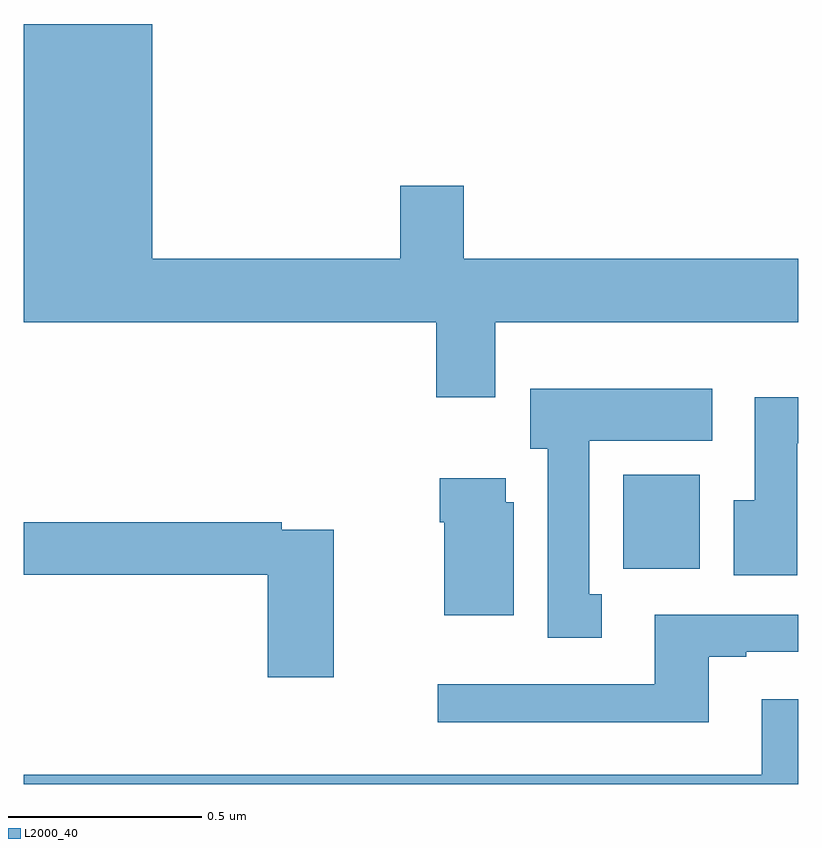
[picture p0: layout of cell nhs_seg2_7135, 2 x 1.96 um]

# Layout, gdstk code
import gdstk
lib = gdstk.Library(unit=1e-6, precision=1e-09)
def R(c, l, rs):  # rectangles x0, y0, x1, y1
    for r in rs: c.add(gdstk.rectangle(r[:2], r[2:], *l))
def P(c, l, *ps):  # polygons
    for p in ps: c.add(gdstk.Polygon(p, *l))
L2000_40 = (2000, 40)

nhs_seg2_7135 = lib.new_cell('nhs_seg2_7135')
R(nhs_seg2_7135, L2000_40, [(201.548,624.356,201.745,624.598)])
P(nhs_seg2_7135, L2000_40, [(201.217,624.992),(202,624.992),(202,625.156),(201.136,625.156),(201.136,625.345),(200.972,625.345),(200.972,625.156),(200.332,625.156),(200.332,625.762),(200,625.762),(200,624.992),(201.065,624.992),(201.065,624.798),(201.217,624.798)],
  [(201.493,624.29),(201.46,624.29),(201.46,624.686),(201.778,624.686),(201.778,624.82),(201.308,624.82),(201.308,624.666),(201.353,624.666),(201.353,624.177),(201.493,624.177)],
  [(201.997,624.68),(202,624.68),(202,624.799),(201.887,624.799),(201.887,624.532),(201.833,624.532),(201.833,624.339),(201.997,624.339)],
  [(201.265,624.528),(201.244,624.528),(201.244,624.589),(201.074,624.589),(201.074,624.476),(201.086,624.476),(201.086,624.236),(201.265,624.236)],
  [(200.8,624.456),(200.666,624.456),(200.666,624.476),(200,624.476),(200,624.34),(200.63,624.34),(200.63,624.075),(200.8,624.075)],
  [(201.769,624.129),(201.865,624.129),(201.865,624.141),(202,624.141),(202,624.237),(201.629,624.237),(201.629,624.057),(201.069,624.057),(201.069,623.96),(201.769,623.96)],
  [(202,624.019),(201.905,624.019),(201.905,623.824),(200,623.824),(200,623.8),(202,623.8)])

lib.write_gds('nhs_seg2_7135.gds')
